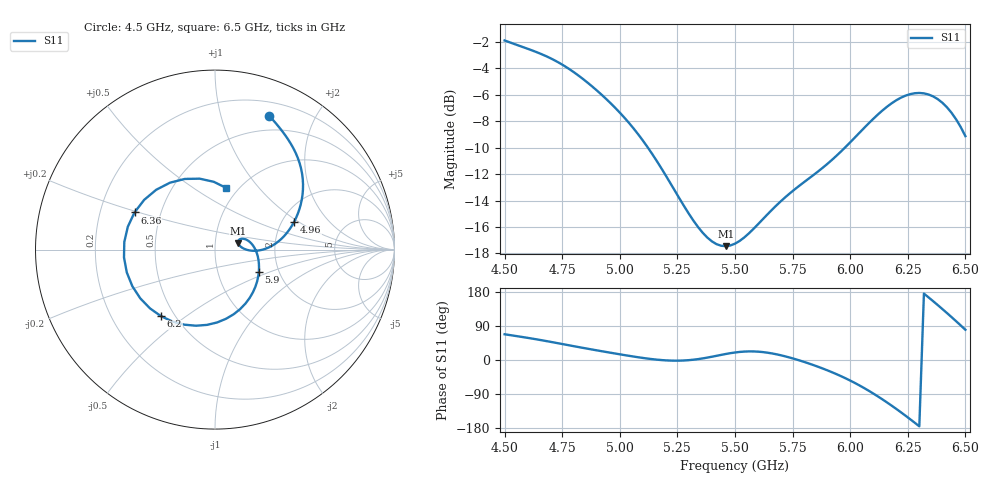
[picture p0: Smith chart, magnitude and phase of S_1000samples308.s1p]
! TOUCHSTONE file generated by CST MICROWAVE STUDIO
! Date and time: Thu Oct 27 17:26:54 2022
! Project name: L.cst
! Parameters = {Di=1.27; Epsilon_r=1.56; InnerDiameter=1.27; Length=2; Lf=10; Lg=60; OuterConductorThickness=0.2921; OuterDiameter=3.6; Wf=3; Wp=41.2; de=1.5; df=6.8; g=0.8; gx=0.610228; gy=2.23591; h=2.34; hf=1.524; px=10.0167; py=9.60232; w=9.7; wx=9.40649; wy=7.36641}
! Header version: 2018
! Port assignment regex: !\s*Touchstone port\s*([0-9]+)\s*=\s*(CST MWS port|CST DS port)\s*([0-9]+|Zmin|Zmax)\s*\(\"(.*)\"\)(\s*mode\s*([0-9]+))?.*
! Touchstone port assignment:
! Touchstone port 1 = CST MWS port 1 ("")
# GHz S DB R 50
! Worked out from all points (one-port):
!   101 points, 4.5 GHz to 6.5 GHz, reference 50 ohm
!   lowest |S11| = -17.4 dB at 5.46 GHz (marker M1), VSWR 1.31, Z = 64.6 + j4.82 ohm
!   |S11| at or under -10 dB: 5.122 GHz to 5.977 GHz (855.2 MHz wide, 15.4 % of centre)
!   S11 on the Smith chart (normalised r, x): 4.5 GHz: 0.34, +1.43; 4.96 GHz: 2.32, +0.91; 5.9 GHz: 1.58, -0.42; 6.2 GHz: 0.42, -0.41; 6.36 GHz: 0.35, +0.19; 6.5 GHz: 0.88, +0.69
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4.5  -1.90 67.9
4.66  -2.93 52.3
4.76  -3.83 41.0
4.86  -5.08 29.8
4.96  -6.64 19.2
5  -7.35 15.0
5.14  -10.46 2.3
5.26  -13.88 -1.7
5.38  -16.80 6.3
5.46  -17.45 15.9
5.5  -17.26 19.8
5.64  -15.06 19.4
5.76  -13.14 2.6
5.9  -11.24 -27.0
6  -9.60 -54.3
6.06  -8.52 -73.9
6.12  -7.50 -96.0
6.16  -6.91 -112.1
6.2  -6.42 -129.1
6.22  -6.23 -137.9
6.26  -5.96 -156.1
6.3  -5.87 -175.0
6.32  -5.90 175.2
6.36  -6.13 155.2
6.4  -6.61 134.5
6.44  -7.37 113.1
6.46  -7.87 102.2
6.5  -9.13 79.8
